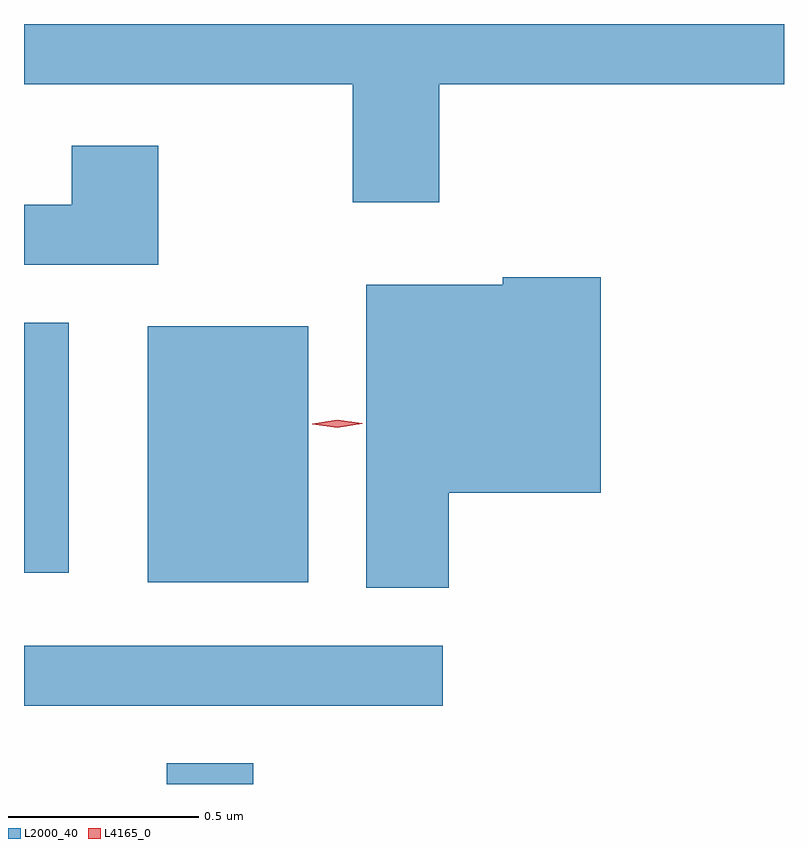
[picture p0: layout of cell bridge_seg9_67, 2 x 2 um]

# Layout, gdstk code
import gdstk
lib = gdstk.Library(unit=1e-6, precision=1e-09)
def R(c, l, rs):  # rectangles x0, y0, x1, y1
    for r in rs: c.add(gdstk.rectangle(r[:2], r[2:], *l))
def P(c, l, *ps):  # polygons
    for p in ps: c.add(gdstk.Polygon(p, *l))
L2000_40 = (2000, 40)
L4165_0 = (4165, 0)

bridge_seg9_67 = lib.new_cell('bridge_seg9_67')
R(bridge_seg9_67, L2000_40, [(1674.031,1947.795,1674.259,1947.849), (1673.656,1948.001,1674.758,1948.159), (1673.981,1948.326,1674.404,1948.999), (1673.656,1948.351,1673.774,1949.009)])
P(bridge_seg9_67, L2000_40, [(1674.749,1949.636),(1675.656,1949.636),(1675.656,1949.795),(1673.656,1949.795),(1673.656,1949.636),(1674.521,1949.636),(1674.521,1949.326),(1674.749,1949.326)],
  [(1674.009,1949.474),(1673.781,1949.474),(1673.781,1949.319),(1673.656,1949.319),(1673.656,1949.161),(1674.009,1949.161)],
  [(1674.774,1948.561),(1675.174,1948.561),(1675.174,1949.129),(1674.916,1949.129),(1674.916,1949.109),(1674.556,1949.109),(1674.556,1948.311),(1674.774,1948.311)])
P(bridge_seg9_67, L4165_0, [(1674.48,1948.733),(1674.414,1948.742),(1674.414,1948.742),(1674.414,1948.743),(1674.48,1948.753),(1674.546,1948.744),(1674.546,1948.744),(1674.546,1948.743)])

lib.write_gds('bridge_seg9_67.gds')
